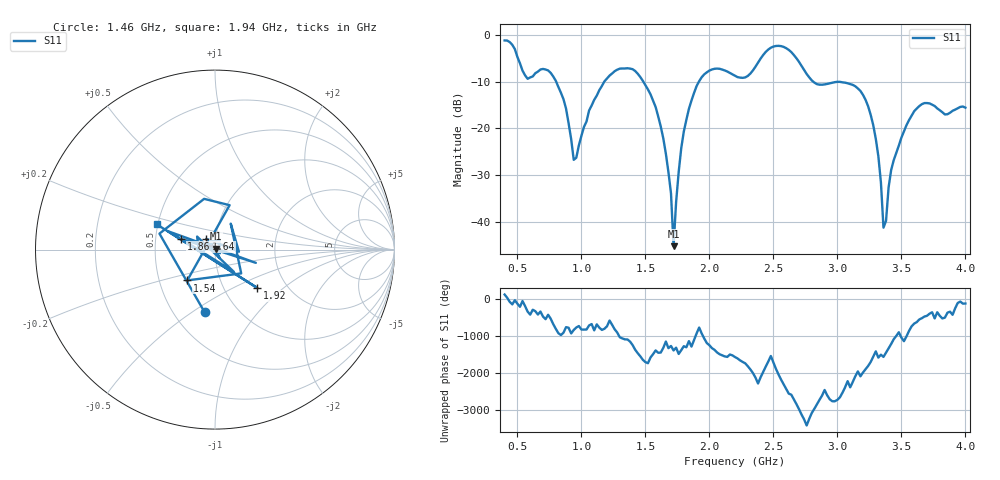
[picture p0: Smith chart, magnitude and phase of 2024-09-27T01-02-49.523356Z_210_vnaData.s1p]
!Created with skrf (http://scikit-rf.org).
# Hz S RI R 50.0
!freq ReS11 ImS11
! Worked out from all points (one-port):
!   181 points, 400 MHz to 4 GHz, reference 50 ohm
!   lowest |S11| = -45.2 dB at 1.72 GHz (marker M1), VSWR 1.01, Z = 50.3 + j0.469 ohm
!   |S11| at or under -10 dB: 802.6 MHz to 1.179 GHz (376.4 MHz wide, 38 % of centre); 1.483 GHz to 1.918 GHz (435 MHz wide, 25.6 % of centre); 2.811 GHz to end of sweep
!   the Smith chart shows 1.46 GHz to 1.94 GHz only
!   S11 on the Smith chart (normalised r, x): 1.46 GHz: 0.70, -0.56; 1.54 GHz: 0.70, -0.25; 1.64 GHz: 0.90, +0.11; 1.86 GHz: 0.68, +0.09; 1.92 GHz: 1.43, -0.68; 1.94 GHz: 0.49, +0.16
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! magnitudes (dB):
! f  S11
! 400 MHz  -1.2
! 580 MHz  -9.4
! 740 MHz  -7.6
! 860 MHz  -13.8
! 940 MHz  -26.7
! 1.1 GHz  -13.9
! 1.3 GHz  -7.2
! 1.46 GHz  -9.0
! 1.54 GHz  -12.7
! 1.64 GHz  -22.2
! 1.7 GHz  -33.9
! 1.72 GHz  -45.2
! 1.76 GHz  -29.3
! 1.86 GHz  -14.0
! 1.92 GHz  -9.9
! 1.94 GHz  -9.1
! 2.2 GHz  -8.8
! 2.5 GHz  -2.5
! 2.66 GHz  -4.3
! 2.84 GHz  -10.5
! 3.1 GHz  -10.5
! 3.28 GHz  -19.3
! 3.32 GHz  -26.0
! 3.36 GHz  -41.2
! 3.42 GHz  -28.9
! 3.56 GHz  -18.2
! 3.68 GHz  -14.6
! 4 GHz  -15.6
